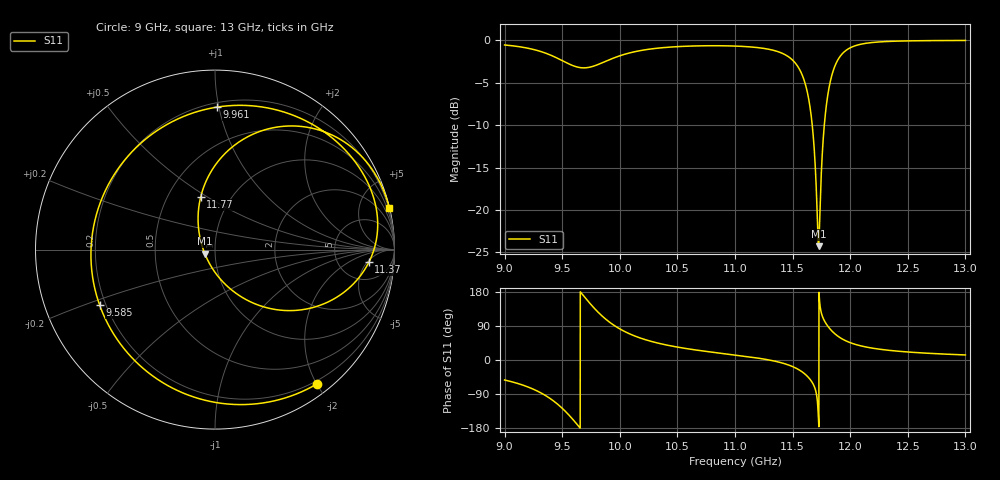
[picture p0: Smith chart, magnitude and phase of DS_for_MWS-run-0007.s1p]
! TOUCHSTONE file generated by CST DESIGN STUDIO
! Date and time: Tue Feb  4 14:21:45 2025
! Project name: C:\Work\MatlabApps\UnitCellOptimizationMatlab\CST\unitcell.cst
! Tree item: Tasks\Sweep1\SPara1\S-Parameters
! Header version: 2024
! Port assignment regex: !\s*Touchstone port\s*([0-9]+)\s*=\s*(CST MWS port|CST DES external port|CST DES block port)\s*(.+)\s* \(\"(.*)\"\)(\s*mode\s*([0-9]+))?.*
! Touchstone port assignment:
! Touchstone port 1 = CST DES external port 1 ("")
# GHz S MA R 50
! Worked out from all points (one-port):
!   4001 points, 9 GHz to 13 GHz, reference 50 ohm
!   lowest |S11| = -24.3 dB at 11.72 GHz (marker M1), VSWR 1.13, Z = 44.6 - j2.08 ohm
!   |S11| at or under -10 dB: 11.67 GHz to 11.78 GHz (104.6 MHz wide, 0.892 % of centre)
!   S11 on the Smith chart (normalised r, x): 9 GHz: 0.16, -2.01; 9.585 GHz: 0.18, -0.22; 9.961 GHz: 0.23, +0.99; 11.37 GHz: 10, -6; 11.77 GHz: 0.73, +0.47; 13 GHz: 0.04, +8.57
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9  0.9396 -52.8
9.164  0.9092 -66.9
9.316  0.859 -86.9
9.414  0.8106 -105.7
9.5  0.7599 -127.4
9.585  0.7133 -154.2
9.684  0.6885 169.9
9.793  0.7127 131.9
9.961  0.7939 89.2
10  0.8112 82.0
10.219  0.8799 53.9
10.5  0.9186 34.1
11  0.9257 13.2
11.369  0.86 -4.7
11.5  0.765 -17.4
11.575  0.6441 -29.7
11.644  0.4343 -48.3
11.678  0.2792 -63.3
11.712  0.1012 -100.2
11.725  0.06113 -157.6
11.738  0.1021 143.8
11.773  0.3039 105.2
11.811  0.5019 87.1
11.864  0.6969 69.9
12  0.9042 45.8
12.185  0.9705 31.7
12.5  0.9931 21.2
13  0.999 13.3
